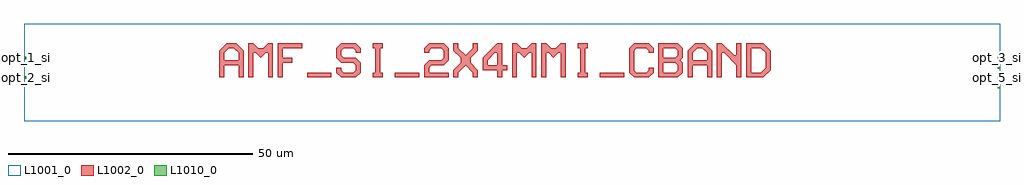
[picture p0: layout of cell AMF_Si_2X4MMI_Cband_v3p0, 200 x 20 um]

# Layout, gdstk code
import gdstk
lib = gdstk.Library(unit=1e-6, precision=1e-09)
def R(c, l, rs):  # rectangles x0, y0, x1, y1
    for r in rs: c.add(gdstk.rectangle(r[:2], r[2:], *l))
def A(c, l, x, y, w, h, nx, ny, dx, dy):  # array of equal rectangles
    R(c, l, [(x+i*dx, y+j*dy, x+i*dx+w, y+j*dy+h) for i in range(nx) for j in range(ny)])
def P(c, l, *ps):  # polygons
    for p in ps: c.add(gdstk.Polygon(p, *l))
L1001_0 = (1001, 0)
L1002_0 = (1002, 0)
L1010_0 = (1010, 0)

amf_si_2x4mmi_cband_v3p0 = lib.new_cell('AMF_Si_2X4MMI_Cband_v3p0')
R(amf_si_2x4mmi_cband_v3p0, L1001_0, [(0,-9,200,11)])
R(amf_si_2x4mmi_cband_v3p0, L1002_0, [(58,0,63,1), (76,0,81,1), (118,0,123,1)])
P(amf_si_2x4mmi_cband_v3p0, L1002_0, [(40,0),(40,5.5),(41.5,7),(43.5,7),(44.5,6),(42,6),(41,5),(41,3.5),(44,3.5),(44,5),(43,6),(44.5,6),(45,5.5),(45,0),(44,0),(44,2.5),(41,2.5),(41,0)],
  [(46,0),(46,7),(47,7),(48,6),(49,6),(50,7),(51,7),(51,0),(50,0),(50,5),(49.5,5),(48.5,4),(47.5,5),(47,5),(47,0)],
  [(52,0),(52,7),(57,7),(57,6),(53,6),(53,4),(55,4),(55,3),(53,3),(53,0)],
  [(65,0),(64,1),(64,2),(65,2),(65,1.5),(65.5,1),(67.5,1),(68,1.5),(68,2.5),(67.5,3),(65,3),(64,4),(64,6),(65,7),(68,7),(69,6),(69,5),(68,5),(68,5.5),(67.5,6),(65.5,6),(65,5.5),(65,4.5),(65.5,4),(68,4),(69,3),(69,1),(68,0)],
  [(71.5,0),(71.5,1),(72,1),(72,6),(71.5,6),(71.5,7),(73.5,7),(73.5,6),(73,6),(73,1),(73.5,1),(73.5,0)],
  [(82,0),(82,2.5),(83,3.5),(85.5,3.5),(86,4),(86,5.5),(85.5,6),(83.5,6),(83,5.5),(83,5),(82,5),(82,6),(83,7),(86,7),(87,6),(87,3.5),(86,2.5),(83.5,2.5),(83,2),(83,1),(87,1),(87,0)],
  [(88,0),(88,1.5),(89.5,3),(89.5,4),(88,5.5),(88,7),(89,7),(89,6),(90.5,4.5),(92,6),(92,7),(93,7),(93,5.5),(91.5,4),(91.5,3),(93,1.5),(93,0),(92,0),(92,1),(90.5,2.5),(89,1),(89,0)],
  [(97,0),(97,1.5),(94,1.5),(94,2.5),(97,2.5),(97,5),(96.5,5),(95,3.5),(95,2.5),(94,2.5),(94,4),(97,7),(98,7),(98,2.5),(99,2.5),(99,1.5),(98,1.5),(98,0)],
  [(100,0),(100,7),(101,7),(102,6),(103,6),(104,7),(105,7),(105,0),(104,0),(104,5),(103.5,5),(102.5,4),(101.5,5),(101,5),(101,0)],
  [(106,0),(106,7),(107,7),(108,6),(109,6),(110,7),(111,7),(111,0),(110,0),(110,5),(109.5,5),(108.5,4),(107.5,5),(107,5),(107,0)],
  [(113.5,0),(113.5,1),(114,1),(114,6),(113.5,6),(113.5,7),(115.5,7),(115.5,6),(115,6),(115,1),(115.5,1),(115.5,0)],
  [(125,0),(124,1),(124,6),(125,7),(128,7),(129,6),(129,5),(128,5),(128,5.5),(127.5,6),(125.5,6),(125,5.5),(125,1.5),(125.5,1),(127.5,1),(128,1.5),(128,2),(129,2),(129,1),(128,0)],
  [(130,0),(130,7),(134,7),(135,6),(131,6),(131,4),(133.5,4),(134,4.5),(134,5.5),(133.5,6),(135,6),(135,4),(134.5,3.5),(135,3),(131,3),(131,1),(133.5,1),(134,1.5),(134,2.5),(133.5,3),(135,3),(135,1),(134,0)],
  [(136,0),(136,5.5),(137.5,7),(139.5,7),(140.5,6),(138,6),(137,5),(137,3.5),(140,3.5),(140,5),(139,6),(140.5,6),(141,5.5),(141,0),(140,0),(140,2.5),(137,2.5),(137,0)],
  [(142,0),(142,7),(143,7),(145.5,4.5),(146,4.5),(146,7),(147,7),(147,0),(146,0),(146,2.5),(143.5,5),(143,5),(143,0)],
  [(148,0),(148,7),(151.5,7),(152.5,6),(149,6),(149,1),(151,1),(152,2),(152,5),(151,6),(152.5,6),(153,5.5),(153,1.5),(151.5,0)])
A(amf_si_2x4mmi_cband_v3p0, L1010_0, 199.5, -2.25, 0.5, 0.5, 1, 4, 0, 2)
R(amf_si_2x4mmi_cband_v3p0, L1010_0, [(0,-0.25,0.5,0.25), (0,3.75,0.5,4.25)])
amf_si_2x4mmi_cband_v3p0.add(gdstk.Label('opt_2_si', (0,0), layer=1010, texttype=0))
amf_si_2x4mmi_cband_v3p0.add(gdstk.Label('opt_3_si', (200,4), layer=1010, texttype=0))
amf_si_2x4mmi_cband_v3p0.add(gdstk.Label('opt_4_si', (200,2), layer=1010, texttype=0))
amf_si_2x4mmi_cband_v3p0.add(gdstk.Label('opt_5_si', (200,0), layer=1010, texttype=0))
amf_si_2x4mmi_cband_v3p0.add(gdstk.Label('opt_6_si', (200,-2), layer=1010, texttype=0))
amf_si_2x4mmi_cband_v3p0.add(gdstk.Label('opt_1_si', (0,4), layer=1010, texttype=0))

lib.write_gds('AMF_Si_2X4MMI_Cband_v3p0.gds')
